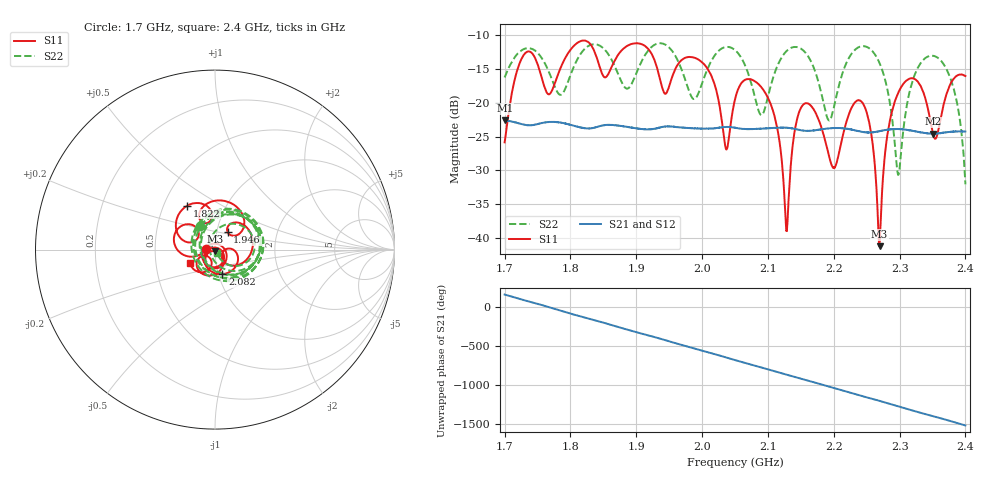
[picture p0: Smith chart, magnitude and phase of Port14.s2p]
# Hz S RI R 50
! CMT, CMT808U, 21440046, 21.4.3/4
! Date: 9/9/2026 12:58:08 AM
! Data: Format (Calibration Info)
! Freq	S11:Re/Im(F2)	S41:Re/Im(F2)	S14:Re/Im(F2)	S44:Re/Im(F2)
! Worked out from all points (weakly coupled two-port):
!   3001 points, 1.7 GHz to 2.4 GHz, reference 50 ohm
!   highest |S21| = -22.59 dB at 1.7 GHz (marker M1); lowest = -24.6 dB at 2.351 GHz (marker M2)
!   lowest |S11| = -41.2 dB at 2.27 GHz (marker M3), VSWR 1.02, Z = 50 - j0.866 ohm
!   |S11| at or under -10 dB: start of sweep to end of sweep
!   |S22| runs from -32.1 to -11.2 dB; largest |S21 - S12| = 0.0011
!   S11 on the Smith chart (normalised r, x): 1.7 GHz: 0.90, +0.00; 1.822 GHz: 0.66, +0.35; 1.946 GHz: 1.13, +0.22; 2.082 GHz: 1.04, -0.29; 2.4 GHz: 0.75, -0.11
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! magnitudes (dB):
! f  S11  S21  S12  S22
! 1.7 GHz  -25.9  -22.6  -22.6  -16.2
! 1.7 GHz  -25.7  -22.6  -22.6  -16.2
! 1.73 GHz  -12.8  -23.3  -23.3  -12.0
! 1.817 GHz  -10.8  -23.7  -23.7  -12.6
! 1.822 GHz  -10.8  -23.8  -23.8  -12.0
! 1.934 GHz  -15.5  -23.7  -23.7  -11.2
! 1.946 GHz  -18.5  -23.5  -23.5  -11.5
! 1.988 GHz  -13.3  -23.8  -23.8  -19.4
! 2.036 GHz  -26.9  -23.6  -23.6  -11.7
! 2.05 GHz  -19.5  -23.7  -23.7  -12.2
! 2.082 GHz  -16.9  -23.9  -23.9  -19.7
! 2.112 GHz  -22.7  -23.7  -23.7  -15.2
! 2.128 GHz  -39.0  -23.7  -23.7  -12.3
! 2.144 GHz  -22.5  -24.0  -23.9  -11.7
! 2.167 GHz  -20.6  -24.1  -24.1  -14.1
! 2.193 GHz  -28.2  -23.8  -23.8  -22.6
! 2.245 GHz  -20.2  -24.3  -24.3  -11.6
! 2.27 GHz  -41.2  -24.2  -24.2  -14.1
! 2.284 GHz  -23.5  -24.0  -24.0  -19.0
! 2.299 GHz  -18.4  -23.9  -23.9  -30.6
! 2.351 GHz  -24.6  -24.6  -24.6  -13.0
! 2.4 GHz  -16.0  -24.2  -24.3  -32.1
